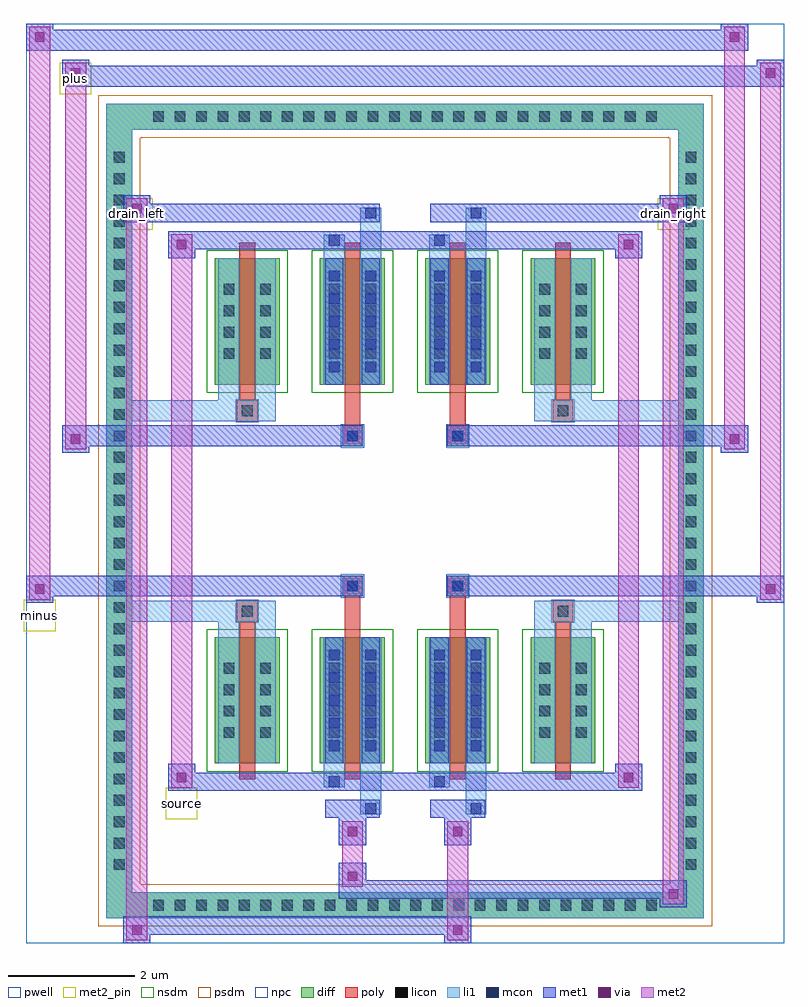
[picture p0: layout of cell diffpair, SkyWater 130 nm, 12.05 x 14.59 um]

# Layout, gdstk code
import gdstk
lib = gdstk.Library(unit=1e-6, precision=5e-09)
def R(c, l, rs):  # rectangles x0, y0, x1, y1
    for r in rs: c.add(gdstk.rectangle(r[:2], r[2:], *l))
def A(c, l, x, y, w, h, nx, ny, dx, dy):  # array of equal rectangles
    R(c, l, [(x+i*dx, y+j*dy, x+i*dx+w, y+j*dy+h) for i in range(nx) for j in range(ny)])
def P(c, l, *ps):  # polygons
    for p in ps: c.add(gdstk.Polygon(p, *l))
pwell = (64, 44)
diff = (65, 20)
poly = (66, 20)
licon = (66, 44)
li1 = (67, 20)
mcon = (67, 44)
met1 = (68, 20)
via = (68, 44)
met2_pin = (69, 16)
met2 = (69, 20)
nsdm = (93, 44)
psdm = (94, 20)
npc = (95, 20)

diffpair = lib.new_cell('diffpair')
R(diffpair, pwell, [(-6.01,-6.86,6.01,7.73), (-3.33,-5.05,-0.01,-0.825), (0.01,-5.05,3.33,-0.825), (-3.33,0.825,-0.01,5.05), (0.01,0.825,3.33,5.05)])
A(diffpair, diff, -4.115, -6.46, 0.41, 0.41, 24, 2, 0.34, 12.51)
A(diffpair, diff, -4.74, -5.815, 0.41, 0.41, 1, 34, 0, 0.34)
A(diffpair, diff, 4.33, -5.815, 0.41, 0.41, 1, 34, 0, 0.34)
A(diffpair, diff, -3.02, -4.005, 1.03, 2, 4, 2, 1.67, 6.01)
R(diffpair, diff, [(-4.115,-6.46,4.115,-6.05), (-4.74,-5.815,-4.33,5.815), (4.33,-5.815,4.74,5.815), (-4.115,6.05,4.115,6.46)])
P(diffpair, diff, [(4.74,6.46),(-4.74,6.46),(-4.74,-6.05),(-4.33,-6.05),(-4.33,6.05),(4.33,6.05),(4.33,-6.05),(-4.33,-6.05),(-4.74,-6.05),(-4.74,-6.46),(4.74,-6.46)])
A(diffpair, poly, -2.63, -4.255, 0.25, 2.5, 4, 2, 1.67, 6.01)
R(diffpair, poly, [(-2.67,-1.755,-2.34,-1.425), (-2.67,-1.755,-2.34,-1.425), (-0.96,-1.755,-0.71,-1.355), (0.71,-1.755,0.96,-1.355), (2.34,-1.755,2.67,-1.425), (2.34,-1.755,2.67,-1.425), (-1,-1.355,-0.67,-1.025), (-1,-1.355,-0.67,-1.025), (0.67,-1.355,1,-1.025), (0.67,-1.355,1,-1.025), (-1,1.025,-0.67,1.355), (-1,1.025,-0.67,1.355), (0.67,1.025,1,1.355), (0.67,1.025,1,1.355), (-0.96,1.355,-0.71,1.755), (0.71,1.355,0.96,1.755), (-2.67,1.425,-2.34,1.755), (-2.67,1.425,-2.34,1.755), (2.34,1.425,2.67,1.755), (2.34,1.425,2.67,1.755)])
A(diffpair, licon, -3.995, -6.34, 0.17, 0.17, 24, 2, 0.34, 12.51)
A(diffpair, licon, -4.62, -5.695, 0.17, 0.17, 1, 34, 0, 0.34)
A(diffpair, licon, 4.45, -5.695, 0.17, 0.17, 1, 34, 0, 0.34)
A(diffpair, licon, -2.88, -3.6, 0.17, 0.17, 1, 4, 0, 0.34)
A(diffpair, licon, -2.3, -3.6, 0.17, 0.17, 1, 4, 0, 0.34)
A(diffpair, licon, -1.21, -3.6, 0.17, 0.17, 1, 4, 0, 0.34)
A(diffpair, licon, -0.63, -3.6, 0.17, 0.17, 1, 4, 0, 0.34)
A(diffpair, licon, 0.46, -3.6, 0.17, 0.17, 1, 4, 0, 0.34)
A(diffpair, licon, 1.04, -3.6, 0.17, 0.17, 1, 4, 0, 0.34)
A(diffpair, licon, 2.13, -3.6, 0.17, 0.17, 1, 4, 0, 0.34)
A(diffpair, licon, 2.71, -3.6, 0.17, 0.17, 1, 4, 0, 0.34)
A(diffpair, licon, -2.88, 2.41, 0.17, 0.17, 1, 4, 0, 0.34)
A(diffpair, licon, -2.3, 2.41, 0.17, 0.17, 1, 4, 0, 0.34)
A(diffpair, licon, -1.21, 2.41, 0.17, 0.17, 1, 4, 0, 0.34)
A(diffpair, licon, -0.63, 2.41, 0.17, 0.17, 1, 4, 0, 0.34)
A(diffpair, licon, 0.46, 2.41, 0.17, 0.17, 1, 4, 0, 0.34)
A(diffpair, licon, 1.04, 2.41, 0.17, 0.17, 1, 4, 0, 0.34)
A(diffpair, licon, 2.13, 2.41, 0.17, 0.17, 1, 4, 0, 0.34)
A(diffpair, licon, 2.71, 2.41, 0.17, 0.17, 1, 4, 0, 0.34)
R(diffpair, licon, [(-2.59,-1.675,-2.42,-1.505), (2.42,-1.675,2.59,-1.505), (-0.92,-1.275,-0.75,-1.105), (0.75,-1.275,0.92,-1.105), (-0.92,1.105,-0.75,1.275), (0.75,1.105,0.92,1.275), (-2.59,1.505,-2.42,1.675), (2.42,1.505,2.59,1.675)])
A(diffpair, li1, -4.075, -6.42, 0.33, 0.33, 24, 2, 0.34, 12.51)
A(diffpair, li1, -4.7, -5.775, 0.33, 0.33, 1, 34, 0, 0.34)
A(diffpair, li1, 4.37, -5.775, 0.33, 0.33, 1, 34, 0, 0.34)
A(diffpair, li1, -1.21, -3.81, 0.17, 0.17, 1, 5, 0, 0.36)
A(diffpair, li1, -0.63, -3.81, 0.17, 0.17, 1, 5, 0, 0.36)
A(diffpair, li1, 0.46, -3.81, 0.17, 0.17, 1, 5, 0, 0.36)
A(diffpair, li1, 1.04, -3.81, 0.17, 0.17, 1, 5, 0, 0.36)
A(diffpair, li1, -2.96, -3.68, 0.33, 0.33, 1, 4, 0, 0.34)
A(diffpair, li1, -2.38, -3.68, 0.33, 0.33, 1, 4, 0, 0.34)
A(diffpair, li1, -1.29, -3.68, 0.33, 0.33, 1, 4, 0, 0.34)
A(diffpair, li1, -0.71, -3.68, 0.33, 0.33, 1, 4, 0, 0.34)
A(diffpair, li1, 0.38, -3.68, 0.33, 0.33, 1, 4, 0, 0.34)
A(diffpair, li1, 0.96, -3.68, 0.33, 0.33, 1, 4, 0, 0.34)
A(diffpair, li1, 2.05, -3.68, 0.33, 0.33, 1, 4, 0, 0.34)
A(diffpair, li1, 2.63, -3.68, 0.33, 0.33, 1, 4, 0, 0.34)
A(diffpair, li1, -1.21, 2.2, 0.17, 0.17, 1, 5, 0, 0.36)
A(diffpair, li1, -0.63, 2.2, 0.17, 0.17, 1, 5, 0, 0.36)
A(diffpair, li1, 0.46, 2.2, 0.17, 0.17, 1, 5, 0, 0.36)
A(diffpair, li1, 1.04, 2.2, 0.17, 0.17, 1, 5, 0, 0.36)
A(diffpair, li1, -2.96, 2.33, 0.33, 0.33, 1, 4, 0, 0.34)
A(diffpair, li1, -2.38, 2.33, 0.33, 0.33, 1, 4, 0, 0.34)
A(diffpair, li1, -1.29, 2.33, 0.33, 0.33, 1, 4, 0, 0.34)
A(diffpair, li1, -0.71, 2.33, 0.33, 0.33, 1, 4, 0, 0.34)
A(diffpair, li1, 0.38, 2.33, 0.33, 0.33, 1, 4, 0, 0.34)
A(diffpair, li1, 0.96, 2.33, 0.33, 0.33, 1, 4, 0, 0.34)
A(diffpair, li1, 2.05, 2.33, 0.33, 0.33, 1, 4, 0, 0.34)
A(diffpair, li1, 2.63, 2.33, 0.33, 0.33, 1, 4, 0, 0.34)
R(diffpair, li1, [(-4.74,-6.46,-4.33,-6.05), (-4.74,-6.46,-4.33,-6.05), (-4.33,-6.46,4.33,-6.05), (4.33,-6.46,4.74,-6.05), (4.33,-6.46,4.74,-6.05), (-4.74,-6.05,-4.33,6.05), (4.33,-6.05,4.74,6.05), (-0.71,-4.81,-0.38,-4.005), (-0.63,-4.81,-0.46,-4.64), (0.96,-4.81,1.29,-4.005), (1.04,-4.81,1.21,-4.64), (-1.29,-4.38,-0.96,-4.005), (-1.21,-4.38,-1.04,-4.21), (0.38,-4.38,0.71,-4.005), (0.46,-4.38,0.63,-4.21), (-2.96,-4.005,-2.63,-2.005), (-2.38,-4.005,-2.05,-2.005), (-1.29,-4.005,-0.96,-2.005), (-0.71,-4.005,-0.38,-2.005), (0.38,-4.005,0.71,-2.005), (0.96,-4.005,1.29,-2.005), (2.05,-4.005,2.38,-2.005), (2.63,-4.005,2.96,-2.005), (-1.21,-3.81,-1.04,-2.2), (-0.63,-3.81,-0.46,-2.2), (0.46,-3.81,0.63,-2.2), (1.04,-3.81,1.21,-2.2), (-2.96,-2.005,-2.63,-1.425), (-2.38,-2.005,-2.05,-1.425), (2.05,-2.005,2.38,-1.425), (2.63,-2.005,2.96,-1.425), (-4.74,-1.755,-2.67,-1.425), (-2.96,-1.755,-2.67,-1.425), (-2.67,-1.755,-2.34,-1.425), (-2.34,-1.755,-2.05,-1.425), (2.05,-1.755,2.34,-1.425), (2.34,-1.755,2.67,-1.425), (2.34,-1.755,4.74,-1.425), (2.67,-1.755,2.96,-1.425), (-1,-1.355,-0.67,-1.025), (0.67,-1.355,1,-1.025), (-1,1.025,-0.67,1.355), (0.67,1.025,1,1.355), (-4.74,1.425,-2.67,1.755), (-2.96,1.425,-2.67,1.755), (-2.96,1.425,-2.63,2.005), (-2.67,1.425,-2.34,1.755), (-2.38,1.425,-2.05,2.005), (-2.34,1.425,-2.05,1.755), (2.05,1.425,2.34,1.755), (2.05,1.425,2.38,2.005), (2.34,1.425,2.67,1.755), (2.34,1.425,4.74,1.755), (2.63,1.425,2.96,2.005), (2.67,1.425,2.96,1.755), (-2.96,2.005,-2.63,4.005), (-2.38,2.005,-2.05,4.005), (-1.29,2.005,-0.96,4.005), (-0.71,2.005,-0.38,4.005), (0.38,2.005,0.71,4.005), (0.96,2.005,1.29,4.005), (2.05,2.005,2.38,4.005), (2.63,2.005,2.96,4.005), (-1.21,2.2,-1.04,3.81), (-0.63,2.2,-0.46,3.81), (0.46,2.2,0.63,3.81), (1.04,2.2,1.21,3.81), (-1.29,4.005,-0.96,4.38), (-0.71,4.005,-0.38,4.81), (0.38,4.005,0.71,4.38), (0.96,4.005,1.29,4.81), (-1.21,4.21,-1.04,4.38), (0.46,4.21,0.63,4.38), (-0.63,4.64,-0.46,4.81), (1.04,4.64,1.21,4.81), (-4.74,6.05,-4.33,6.46), (-4.74,6.05,-4.33,6.46), (-4.33,6.05,4.33,6.46), (4.33,6.05,4.74,6.46), (4.33,6.05,4.74,6.46)])
A(diffpair, mcon, -1.21, -3.81, 0.17, 0.17, 1, 5, 0, 0.36)
A(diffpair, mcon, -0.63, -3.81, 0.17, 0.17, 1, 5, 0, 0.36)
A(diffpair, mcon, 0.46, -3.81, 0.17, 0.17, 1, 5, 0, 0.36)
A(diffpair, mcon, 1.04, -3.81, 0.17, 0.17, 1, 5, 0, 0.36)
A(diffpair, mcon, -1.21, 2.2, 0.17, 0.17, 1, 5, 0, 0.36)
A(diffpair, mcon, -0.63, 2.2, 0.17, 0.17, 1, 5, 0, 0.36)
A(diffpair, mcon, 0.46, 2.2, 0.17, 0.17, 1, 5, 0, 0.36)
A(diffpair, mcon, 1.04, 2.2, 0.17, 0.17, 1, 5, 0, 0.36)
R(diffpair, mcon, [(-0.63,-4.81,-0.46,-4.64), (1.04,-4.81,1.21,-4.64), (-1.21,-4.38,-1.04,-4.21), (0.46,-4.38,0.63,-4.21), (-0.92,-1.275,-0.75,-1.105), (0.75,-1.275,0.92,-1.105), (-0.92,1.105,-0.75,1.275), (0.75,1.105,0.92,1.275), (-1.21,4.21,-1.04,4.38), (0.46,4.21,0.63,4.38), (-0.63,4.64,-0.46,4.81), (1.04,4.64,1.21,4.81)])
A(diffpair, met1, -1.27, -3.87, 0.29, 0.29, 1, 5, 0, 0.36)
A(diffpair, met1, -0.69, -3.87, 0.29, 0.29, 1, 5, 0, 0.36)
A(diffpair, met1, 0.4, -3.87, 0.29, 0.29, 1, 5, 0, 0.36)
A(diffpair, met1, 0.98, -3.87, 0.29, 0.29, 1, 5, 0, 0.36)
A(diffpair, met1, -1.27, 2.14, 0.29, 0.29, 1, 5, 0, 0.36)
A(diffpair, met1, -0.69, 2.14, 0.29, 0.29, 1, 5, 0, 0.36)
A(diffpair, met1, 0.4, 2.14, 0.29, 0.29, 1, 5, 0, 0.36)
A(diffpair, met1, 0.98, 2.14, 0.29, 0.29, 1, 5, 0, 0.36)
R(diffpair, met1, [(-4.47,-6.86,-4.04,-6.43), (0.62,-6.86,1.05,-6.43), (-4.47,-6.72,1.05,-6.43), (4.04,-6.29,4.47,-5.86), (-1.05,-6.15,4.47,-5.86), (-1.05,-6.01,-0.62,-5.58), (-1.05,-5.3,-0.62,-4.87), (0.62,-5.3,1.05,-4.87), (-1.27,-4.87,-0.4,-4.58), (-0.69,-4.87,-0.4,-4.58), (0.4,-4.87,1.27,-4.58), (0.98,-4.87,1.27,-4.58), (-3.76,-4.44,-3.33,-4.01), (-3.76,-4.44,-1.27,-4.15), (-1.27,-4.44,-0.98,-4.15), (-1.27,-4.44,-0.4,-4.15), (-0.4,-4.44,0.4,-4.15), (0.4,-4.44,0.69,-4.15), (0.4,-4.44,1.27,-4.15), (1.27,-4.44,3.76,-4.15), (3.33,-4.44,3.76,-4.01), (-1.27,-4.005,-0.98,-2.005), (-0.69,-4.005,-0.4,-2.005), (0.4,-4.005,0.69,-2.005), (0.98,-4.005,1.27,-2.005), (-6.01,-1.455,-5.58,-1.025), (5.58,-1.455,6.01,-1.025), (-6.01,-1.355,-0.67,-1.025), (-1,-1.355,-0.67,-1.025), (0.67,-1.355,1,-1.025), (0.67,-1.355,6.01,-1.025), (-0.98,-1.335,-0.69,-1.045), (0.69,-1.335,0.98,-1.045), (-5.44,0.925,-5.01,1.355), (5.01,0.925,5.44,1.355), (-5.44,1.025,-1,1.355), (-1,1.025,-0.67,1.355), (0.67,1.025,1,1.355), (1,1.025,5.44,1.355), (-0.98,1.045,-0.69,1.335), (0.69,1.045,0.98,1.335), (-1.27,2.005,-0.98,4.005), (-0.69,2.005,-0.4,4.005), (0.4,2.005,0.69,4.005), (0.98,2.005,1.27,4.005), (-3.76,4.01,-3.33,4.44), (3.33,4.01,3.76,4.44), (-3.76,4.15,-1.27,4.44), (-1.27,4.15,-0.98,4.44), (-1.27,4.15,-0.4,4.44), (-0.4,4.15,0.4,4.44), (0.4,4.15,0.69,4.44), (0.4,4.15,1.27,4.44), (1.27,4.15,3.76,4.44), (-4.47,4.58,-4.04,5.01), (-4.47,4.58,-1.27,4.87), (-1.27,4.58,-0.4,4.87), (-0.69,4.58,-0.4,4.87), (0.4,4.58,1.27,4.87), (0.98,4.58,1.27,4.87), (1.27,4.58,4.47,4.87), (4.04,4.58,4.47,5.01), (-5.44,6.73,-5.01,7.16), (-5.44,6.73,-3.33,7.06), (-3.33,6.73,3.33,7.06), (3.33,6.73,6.01,7.06), (5.58,6.73,6.01,7.16), (-6.01,7.3,-5.58,7.73), (-6.01,7.3,-3.33,7.63), (-3.33,7.3,3.33,7.63), (3.33,7.3,5.44,7.63), (5.01,7.3,5.44,7.73)])
R(diffpair, via, [(-4.33,-6.72,-4.18,-6.57), (0.76,-6.72,0.91,-6.57), (4.18,-6.15,4.33,-6), (-0.91,-5.87,-0.76,-5.72), (-0.91,-5.16,-0.76,-5.01), (0.76,-5.16,0.91,-5.01), (-3.62,-4.3,-3.47,-4.15), (3.47,-4.3,3.62,-4.15), (-5.87,-1.315,-5.72,-1.165), (5.72,-1.315,5.87,-1.165), (-5.3,1.065,-5.15,1.215), (5.15,1.065,5.3,1.215), (-3.62,4.15,-3.47,4.3), (3.47,4.15,3.62,4.3), (-4.33,4.72,-4.18,4.87), (4.18,4.72,4.33,4.87), (-5.3,6.87,-5.15,7.02), (5.72,6.87,5.87,7.02), (-5.87,7.44,-5.72,7.59), (5.15,7.44,5.3,7.59)])
R(diffpair, met2_pin, [(-3.795,-4.89,-3.295,-4.39), (-6.045,-1.905,-5.545,-1.405), (-4.505,4.46,-4.005,4.96), (4.005,4.46,4.505,4.96), (-5.475,6.61,-4.975,7.11)])
R(diffpair, met2, [(-4.42,-6.81,-4.09,-6.48), (-4.42,-6.81,-4.09,4.96), (0.67,-6.81,1,-6.48), (0.67,-6.48,1,-5.25), (4.09,-6.24,4.42,-5.91), (4.09,-6.24,4.42,4.96), (-1,-5.96,-0.67,-5.63), (-1,-5.63,-0.67,-5.25), (-1,-5.25,-0.67,-4.92), (0.67,-5.25,1,-4.92), (-3.71,-4.39,-3.38,-4.06), (-3.71,-4.39,-3.38,4.39), (3.38,-4.39,3.71,-4.06), (3.38,-4.39,3.71,4.39), (-5.96,-1.405,-5.63,-1.075), (-5.96,-1.405,-5.63,7.68), (5.63,-1.405,5.96,-1.075), (5.63,-1.405,5.96,7.11), (-5.39,0.975,-5.06,1.305), (-5.39,0.975,-5.06,7.11), (5.06,0.975,5.39,1.305), (5.06,0.975,5.39,7.68), (-3.71,4.06,-3.38,4.39), (3.38,4.06,3.71,4.39), (-4.42,4.63,-4.09,4.96), (4.09,4.63,4.42,4.96), (-5.39,6.78,-5.06,7.11), (5.63,6.78,5.96,7.11), (-5.96,7.35,-5.63,7.68), (5.06,7.35,5.39,7.68)])
P(diffpair, met2, [(5.96,-1.405),(5.96,-1.405),(5.96,-1.075),(5.96,-1.075)],
  [(5.96,6.78),(5.96,6.78),(5.96,7.11),(5.96,7.11)],
  [(-5.63,-1.405),(-5.63,-1.405),(-5.63,-1.075),(-5.63,-1.075)],
  [(-5.63,7.35),(-5.63,7.35),(-5.63,7.68),(-5.63,7.68)],
  [(5.39,0.975),(5.39,0.975),(5.39,1.305),(5.39,1.305)],
  [(5.39,7.35),(5.39,7.35),(5.39,7.68),(5.39,7.68)],
  [(-5.06,0.975),(-5.06,0.975),(-5.06,1.305),(-5.06,1.305)],
  [(-5.06,6.78),(-5.06,6.78),(-5.06,7.11),(-5.06,7.11)],
  [(-4.09,-6.81),(-4.09,-6.81),(-4.09,-6.48),(-4.09,-6.48)],
  [(-4.09,4.63),(-4.09,4.63),(-4.09,4.96),(-4.09,4.96)],
  [(4.42,-6.24),(4.42,-6.24),(4.42,-5.91),(4.42,-5.91)],
  [(4.42,4.63),(4.42,4.63),(4.42,4.96),(4.42,4.96)],
  [(-3.38,-4.39),(-3.38,-4.39),(-3.38,-4.06),(-3.38,-4.06)],
  [(-3.38,4.06),(-3.38,4.06),(-3.38,4.39),(-3.38,4.39)],
  [(3.71,-4.39),(3.71,-4.39),(3.71,-4.06),(3.71,-4.06)],
  [(3.71,4.06),(3.71,4.06),(3.71,4.39),(3.71,4.39)])
A(diffpair, nsdm, -3.15, -4.135, 1.29, 2.26, 4, 2, 1.67, 6.01)
P(diffpair, psdm, [(4.87,6.59),(-4.87,6.59),(-4.87,-5.92),(-4.2,-5.92),(-4.2,5.92),(4.2,5.92),(4.2,-5.92),(-4.2,-5.92),(-4.87,-5.92),(-4.87,-6.59),(4.87,-6.59)])
R(diffpair, npc, [(-2.69,-1.775,-2.32,-1.405), (2.32,-1.775,2.69,-1.405), (-1.02,-1.375,-0.65,-1.005), (0.65,-1.375,1.02,-1.005), (-1.02,1.005,-0.65,1.375), (0.65,1.005,1.02,1.375), (-2.69,1.405,-2.32,1.775), (2.32,1.405,2.69,1.775)])
diffpair.add(gdstk.Label('minus', (-5.795,-1.655), layer=69, texttype=5))
diffpair.add(gdstk.Label('drain_right', (4.255,4.71), layer=69, texttype=5))
diffpair.add(gdstk.Label('drain_left', (-4.255,4.71), layer=69, texttype=5))
diffpair.add(gdstk.Label('source', (-3.545,-4.64), layer=69, texttype=5))
diffpair.add(gdstk.Label('plus', (-5.225,6.86), layer=69, texttype=5))

lib.write_gds('diffpair.gds')
